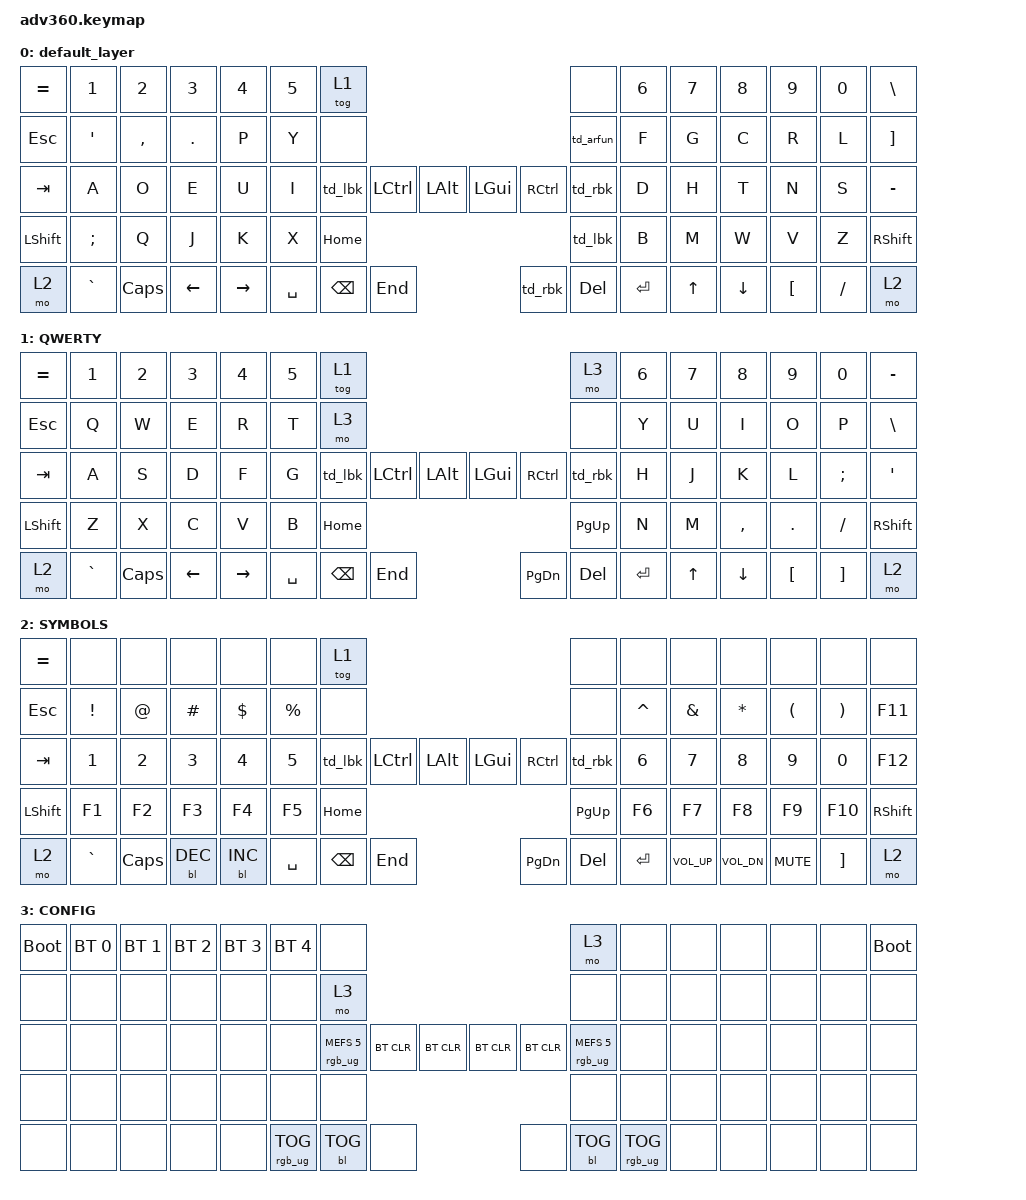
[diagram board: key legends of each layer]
#include <behaviors.dtsi>
#include <dt-bindings/zmk/keys.h>
#include <dt-bindings/zmk/bt.h>
#include <dt-bindings/zmk/rgb.h>
#include <dt-bindings/zmk/backlight.h>

#define DVORAK  0
#define QWERTY  1
#define SYMBOLS 2
#define CONFIG  3

/ {
    behaviors {
      #include "macros.dtsi"
      #include "version.dtsi"
      #ifndef VERSION_MACRO
      macro_ver: macro_ver {
        compatible = "zmk,behavior-macro";
        label = "macro_version";
        #binding-cells = <0>;
        bindings = <&kp RET>;
      };
      #endif

      hm: homerow_mods {
        compatible = "zmk,behavior-hold-tap";
        label = "HOMEROW_MODS";
        #binding-cells = <2>;
        tapping-term-ms = <200>;
        quick_tap_ms = <175>;
        flavor = "tap-preferred";
        bindings = <&kp>, <&kp>;
      };
      td_lbk: tap_dance_left_parens {
        compatible = "zmk,behavior-tap-dance";
        label = "TAP_DANCE_MOD_LBKS";
        #binding-cells = <0>;
        tapping-term-ms = <200>;
        bindings = <&mt LEFT_BRACE LEFT_PARENTHESIS>, <&kp LEFT_BRACKET>;
      };
      td_rbk: tap_dance_right_parens {
        compatible = "zmk,behavior-tap-dance";
        label = "TAP_DANCE_MOD_RBKS";
        #binding-cells = <0>;
        tapping-term-ms = <200>;
        bindings = <&mt RIGHT_BRACE RIGHT_PARENTHESIS>, <&kp RIGHT_BRACKET>;
      };
      td_arfun: tap_dance_arrow_function {
        compatible = "zmk,behavior-tap-dance";
        label = "TAP_DANCE_MOD_ARFUN";
        #binding-cells = <0>;
        tapping-term-ms = <200>;
        bindings = <&mt PLUS EQUAL>, <&kp GREATER_THAN>;
      };
    };
  keymap {
    compatible = "zmk,keymap";

    default_layer {
      //   ,--------------------------------------------------.                                           ,--------------------------------------------------.                      
      //   |    =   |   1  |   2  |   3  |  4   |   5  |Tog 1 |                                           |      |   6  |   7  |   8  |   9  |   0  |   \|   |
      //   |--------+------+------+------+------+------+------|                                           |------+------+------+------+------+------+--------|
      //   |   Esc  |   "  |   ,  |   .  |   P  |   Y  |      |                                           | + = >|   F  |   G  |   C  |   R  |   L  |    )   |
      //   |--------+------+------+------+------+------+------|       ,-----+-----.  ,-----+-----.        |------+------+------+------+------+------+--------|
      //   |   Tab  |   A  |   O  |   E  |   U  |   I  | ({[  |       |L Ctl|L Alt|  |L Gui|R ctl|        |  ]}) |   D  |   H  |   T  |   N  |   S  |   -    |
      //   |--------+------+------+------+------+------+------' .-----+-----+-----|  |-----+-----+-----.  '------+------+------+------+------+------+--------|
      //   | L Shift|   ;  |   Q  |   J  |   K  |   X  |        |     |Back | Home|  | ({[ |     |     |         |   B  |   M  |   W  |   V  |   Z  | R Shift|
      //   |--------+------+------+------+------+------'        |Space|Space|-----|  |-----| Del |Enter|         '------+------+------+------+------+--------|
      //   |  Mo 2  |   `  | CAPS | Left | Right|               |     |     | End |  | ]}) |     |     |                |  Up  | Down |   (  |  /?  |  Mo 2  |
      //   `--------+------+------+------+------'               `-----+-----+-----'  `-----+-----+-----'                '------+------+------+------+--------'

      bindings = <
        &kp EQUAL &kp N1    &kp N2    &kp N3   &kp N4    &kp N5 &tog 1                                                               &none     &kp N6 &kp N7 &kp N8   &kp N9   &kp N0   &kp BSLH
        &kp ESC   &kp SQT   &kp COMMA &kp DOT  &kp P     &kp Y  &none                                                                &td_arfun &kp F  &kp G  &kp C    &kp R    &kp L    &kp RBKT
        &kp TAB   &kp A     &kp O     &kp E    &kp U     &kp I  &td_lbk           &kp LCTRL &kp LALT  &kp LGUI  &kp RCTRL            &td_rbk   &kp D  &kp H  &kp T    &kp N    &kp S    &kp MINUS
        &kp LSHFT &kp SEMI  &kp Q     &kp J    &kp K     &kp X                              &kp HOME  &td_lbk                                 &kp B  &kp M  &kp W    &kp V    &kp Z    &kp RSHFT
        &mo 2     &kp GRAVE &kp CAPS  &kp LEFT &kp RIGHT                &kp SPACE &kp BSPC  &kp END   &td_rbk   &kp DEL   &kp ENTER                  &kp UP &kp DOWN &kp LBKT &kp FSLH &mo 2
      >;
    };
    QWERTY {
      //   ,--------------------------------------------------.                                           ,--------------------------------------------------.                      
      //   |    =   |   1  |   2  |   3  |  4   |   5  |Tog 1 |                                           | Mo 3 |   6  |   7  |   8  |   9  |   0  |   -    |
      //   |--------+------+------+------+------+------+------|                                           |------+------+------+------+------+------+--------|
      //   |   Esc  |   Q  |   W  |   E  |   R  |   T  | Mo 3 |                                           |      |   Y  |   U  |   I  |   O  |   P  |   \    |
      //   |--------+------+------+------+------+------+------|       ,-----+-----.  ,-----+-----.        |------+------+------+------+------+------+--------|
      //   |   Tab  |   A  |   S  |   D  |   F  |   G  | ({[  |       |L Ctl|L Alt|  |L Gui|R ctl|        |  ]}) |   H  |   J  |   K  |   L  |   :  |   "    |
      //   |--------+------+------+------+------+------+------' .-----+-----+-----|  |-----+-----+-----.  '------+------+------+------+------+------+--------|
      //   | L Shift|   Z  |   X  |   C  |   V  |   B  |        |     |Back | Home|  |Pg Up|     |     |         |   N  |   M  |   ,  |   .  |  /?  | R Shift|
      //   |--------+------+------+------+------+------'        |Space|Space|-----|  |-----| Del |Enter|         '------+------+------+------+------+--------|
      //   |  Mo 2  |   `  | CAPS | Left | Right|               |     |     | End |  |Pg Dn|     |     |                |  Up  | Down |   (  |   )  |  Mo 2  |
      //   `--------+------+------+------+------'               `-----+-----+-----'  `-----+-----+-----'                '------+------+------+------+--------'

      bindings = <
        &kp EQUAL &kp N1    &kp N2   &kp N3   &kp N4     &kp N5 &tog 1                                                                 &mo 3   &kp N6 &kp N7 &kp N8    &kp N9   &kp N0   &kp MINUS
        &kp ESC   &kp Q     &kp W    &kp E    &kp R      &kp T  &mo 3                                                                  &none   &kp Y  &kp U  &kp I     &kp O    &kp P    &kp BSLH
        &kp TAB   &kp A     &kp S    &kp D    &kp F      &kp G  &td_lbk            &kp LCTRL &kp LALT  &kp LGUI  &kp RCTRL             &td_rbk &kp H  &kp J  &kp K     &kp L    &kp SEMI &kp SQT
        &kp LSHFT &kp Z     &kp X    &kp C    &kp V      &kp B                               &kp HOME  &kp PG_UP                               &kp N  &kp M  &kp COMMA &kp DOT  &kp FSLH &kp RSHFT
        &mo 2     &kp GRAVE &kp CAPS &kp LEFT &kp RIGHT                  &kp SPACE &kp BSPC  &kp END   &kp PG_DN &kp DEL   &kp ENTER                  &kp UP &kp DOWN  &kp LBKT &kp RBKT &mo 2
      >;
    };
    SYMBOLS {
      //   ,--------------------------------------------------.                                           ,---------------------------------------------------.                      
      //   |    =   |      |      |      |      |      |Tog 1 |                                           |      |      |      |      |       |      |        |
      //   |--------+------+------+------+------+------+------|                                           |------+------+------+------+-------+------+--------|
      //   |   TAB  |   !  |   @  |   #  |   $  |   %  |      |                                           |      |   ^  |   &  |   *  |   (   |   )  |  F11   |
      //   |--------+------+------+------+------+------+------|       ,-----+-----.  ,-----+-----.        |------+------+------+------+-------+------+--------|
      //   |   Esc  |   1  |   2  |   3  |   4  |   5  | ({[  |       |L Ctl|L Alt|  |L Gui|R ctl|        |  ]}) |   6  |   7  |   8  |   9   |   0  |  F12   |
      //   |--------+------+------+------+------+------+------' .-----+-----+-----|  |-----+-----+-----.  '------+------+------+------+-------+------+--------|
      //   | L Shift|  F1  |  F2  |  F3  |  F4  |  F5  |        |     |Back | Home|  |Pg Up|     |     |         |  F6  |  F7  |  F8  |  F9   |  F10 | R Shift|
      //   |--------+------+------+------+------+------'        |Space|Space|-----|  |-----| Del |Enter|         '------+------+------+-------+------+--------|
      //   |  Mo 2  |   `  | CAPS |BL Dec|BL Inc|               |     |     | End |  |Pg Dn|     |     |                |Vol Up|VolDwn|VolMute|   )  | Mod 2  |
      //   `--------+------+------+------+------'               `-----+-----+-----'  `-----+-----+-----'                '------+------+-------+------+--------'

      bindings = <
        &kp EQUAL &none     &none    &none      &none      &none     &tog 1                                                                &none   &none     &none        &none         &none      &none        &none
        &kp ESC   &kp EXCL  &kp AT   &kp HASH   &kp DLLR   &kp PRCNT &none                                                                 &none   &kp CARET &kp AMPS     &kp STAR      &kp LPAR   &kp RPAR &kp F11
        &kp TAB   &kp N1    &kp N2   &kp N3     &kp N4     &kp N5    &td_lbk             &kp LCTRL &kp LALT  &kp LGUI  &kp RCTRL           &td_rbk &kp N6    &kp N7       &kp N8        &kp N9     &kp N0       &kp F12
        &kp LSHFT &kp F1    &kp F2   &kp F3     &kp F4     &kp F5                                  &kp HOME  &kp PG_UP                             &kp F6    &kp F7       &kp F8        &kp F9     &kp F10      &kp RSHFT
        &mo 2     &kp GRAVE &kp CAPS &bl BL_DEC &bl BL_INC                     &kp SPACE &kp BSPC  &kp END   &kp PG_DN &kp DEL   &kp ENTER                   &kp C_VOL_UP &kp C_VOL_DN  &kp C_MUTE &kp RBKT     &mo 2
      >;
    };
    CONFIG {
      // KEYBOARD FUNCTIONALITIES
      // Aka Mo 3 (Danger modes in here, bootloader and bluetooth config layer)
      //   ,--------------------------------------------------.                                           ,--------------------------------------------------.                      
      //   |BOOTLOAD|bth 0 |bth 1 |bth 2 |bth 3 |bth 4 |      |                                           | Mo 3 |      |      |      |      |      |BOOTLOAD|
      //   |--------+------+------+------+------+------+------|                                           |------+------+------+------+------+------+--------|
      //   |        |      |      |      |      |      | Mo 3 |                                           |      |      |      |      |      |      |        |
      //   |--------+------+------+------+------+------+------|       ,-----+-----.  ,-----+-----.        |------+------+------+------+------+------+--------|
      //   |        |      |      |      |      |      |RGB Up|       |BtClr|BtClr|  |BtClr|BtClr|        |RGB Up|      |      |      |      |      |        |
      //   |--------+------+------+------+------+------+------' .-----+-----+-----|  |-----+-----+-----.  '------+------+------+------+------+------+--------|
      //   |        |      |      |      |      |      |        |RGB  |Back |     |  |     |Back |RGB  |         |      |      |      |      |      |        |
      //   |--------+------+------+------+------+------'        |Indic|Light|-----|  |-----|Light|Indic|         '------+------+------+------+------+--------|
      //   |        |      |      |      |      |               |Tog  |Tog  |     |  |     |Tog  |Tog  |                |      |      |      |      |        |
      //   `--------+------+------+------+------'               `-----+-----+-----'  `-----+-----+-----'                '------+------+------+------+--------'

      bindings = <
        &bootloader &bt BT_SEL 0 &bt BT_SEL 1 &bt BT_SEL 2 &bt BT_SEL 3 &bt BT_SEL 4 &none                                                                                                    &mo 3                  &none &none &none &none &none &bootloader
        &none       &none        &none        &none        &none        &none        &mo 3                                                                                                    &none                  &none &none &none &none &none &none
        &none       &none        &none        &none        &none        &none        &rgb_ug RGB_MEFS_CMD 5                   &bt BT_CLR &bt BT_CLR  &bt BT_CLR &bt BT_CLR                    &rgb_ug RGB_MEFS_CMD 5 &none &none &none &none &none &none
        &none       &none        &none        &none        &none        &none                                                            &none       &none                                                           &none &none &none &none &none &none
        &none       &none        &none        &none        &none                                              &rgb_ug RGB_TOG &bl BL_TOG &none       &none      &bl BL_TOG &rgb_ug RGB_TOG                                 &none &none &none &none &none
      >;
    };
  };
};
